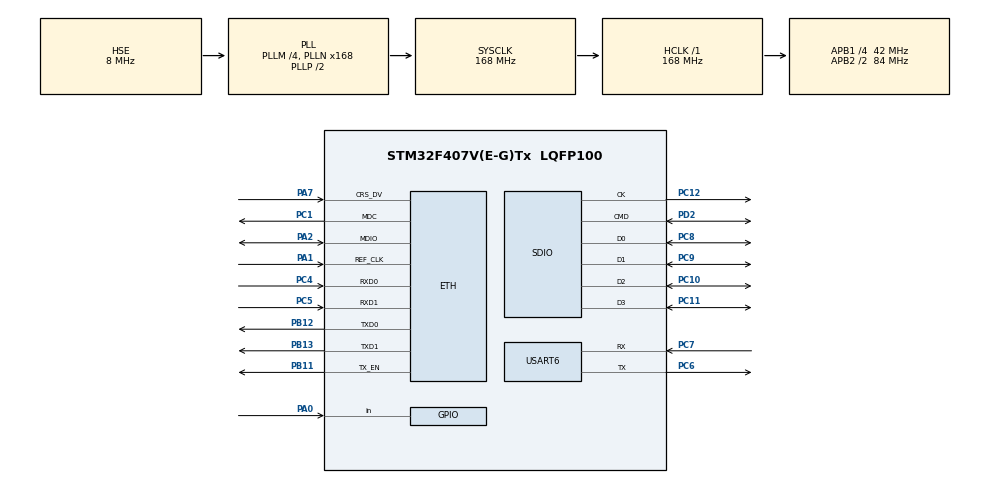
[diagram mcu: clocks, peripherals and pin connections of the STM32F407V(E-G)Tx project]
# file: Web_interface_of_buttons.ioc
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Dma.Request0=SDIO_RX
Dma.Request1=SDIO_TX
Dma.SDIO_RX.0.Direction=DMA_PERIPH_TO_MEMORY
Dma.SDIO_RX.0.FIFOMode=DMA_FIFOMODE_ENABLE
Dma.SDIO_RX.0.FIFOThreshold=DMA_FIFO_THRESHOLD_FULL
Dma.SDIO_RX.0.Instance=DMA2_Stream3
Dma.SDIO_RX.0.MemBurst=DMA_MBURST_INC4
Dma.SDIO_RX.0.MemDataAlignment=DMA_MDATAALIGN_WORD
Dma.SDIO_RX.0.MemInc=DMA_MINC_ENABLE
Dma.SDIO_RX.0.Mode=DMA_PFCTRL
Dma.SDIO_RX.0.PeriphBurst=DMA_PBURST_INC4
Dma.SDIO_RX.0.PeriphDataAlignment=DMA_PDATAALIGN_WORD
Dma.SDIO_RX.0.PeriphInc=DMA_PINC_DISABLE
Dma.SDIO_RX.0.Priority=DMA_PRIORITY_LOW
Dma.SDIO_TX.1.Direction=DMA_MEMORY_TO_PERIPH
Dma.SDIO_TX.1.FIFOMode=DMA_FIFOMODE_ENABLE
Dma.SDIO_TX.1.FIFOThreshold=DMA_FIFO_THRESHOLD_FULL
Dma.SDIO_TX.1.Instance=DMA2_Stream6
Dma.SDIO_TX.1.MemBurst=DMA_MBURST_INC4
Dma.SDIO_TX.1.MemDataAlignment=DMA_MDATAALIGN_WORD
Dma.SDIO_TX.1.MemInc=DMA_MINC_ENABLE
Dma.SDIO_TX.1.Mode=DMA_PFCTRL
Dma.SDIO_TX.1.PeriphBurst=DMA_PBURST_INC4
Dma.SDIO_TX.1.PeriphDataAlignment=DMA_PDATAALIGN_WORD
Dma.SDIO_TX.1.PeriphInc=DMA_PINC_DISABLE
Dma.SDIO_TX.1.Priority=DMA_PRIORITY_LOW
ETH.MediaInterface=ETH_MEDIA_INTERFACE_RMII
FATFS.USE_DMA_CODE_SD=1
FATFS._MAX_SS=4096
LWIP.GATEWAY_ADDRESS=192.168.018.001
LWIP.IP_ADDRESS=192.168.018.115
LWIP.LWIP_DHCP=0
LWIP.LWIP_HTTPD=1
LWIP.LWIP_HTTPD_CGI=1
LWIP.LWIP_HTTPD_DYNAMIC_HEADERS=1
LWIP.LWIP_HTTPD_MAX_TAG_INSERT_LEN=250
LWIP.LWIP_HTTPD_MAX_TAG_NAME_LEN=16
LWIP.LWIP_HTTPD_SSI=1
LWIP.LWIP_HTTPD_SSI_INCLUDE_TAG=0
LWIP.LWIP_HTTPD_SSI_MULTIPART=1
LWIP.LWIP_HTTPD_SUPPORT_POST=1
LWIP.MEM_SIZE=1600
LWIP.NETMASK_ADDRESS=255.255.255.000
LWIP.PBUF_POOL_BUFSIZE=592
LWIP.Version=v2.1.2_Cube
Mcu.Family=STM32F4
Mcu.Name=STM32F407V(E-G)Tx
Mcu.Package=LQFP100
NVIC.DMA2_Stream3_IRQn=true\:0\:0\:false\:false\:true\:false\:true
NVIC.DMA2_Stream6_IRQn=true\:0\:0\:false\:false\:true\:false\:true
NVIC.PriorityGroup=NVIC_PRIORITYGROUP_4
NVIC.SDIO_IRQn=true\:0\:0\:false\:false\:true\:true\:true
PA0-WKUP.GPIO_PuPd=GPIO_NOPULL
PA0-WKUP.Signal=GPIO_Input
PA1.Mode=RMII
PA1.Signal=ETH_REF_CLK
PA13.Mode=Serial_Wire
PA13.Signal=SYS_JTMS-SWDIO
PA14.Mode=Serial_Wire
PA14.Signal=SYS_JTCK-SWCLK
PA2.Mode=RMII
PA2.Signal=ETH_MDIO
PA7.Mode=RMII
PA7.Signal=ETH_CRS_DV
PB11.Mode=RMII
PB11.Signal=ETH_TX_EN
PB12.Mode=RMII
PB12.Signal=ETH_TXD0
PB13.Mode=RMII
PB13.Signal=ETH_TXD1
PC1.Mode=RMII
PC1.Signal=ETH_MDC
PC10.GPIO_PuPd=GPIO_PULLUP
PC10.Mode=SD_4_bits_Wide_bus
PC10.Signal=SDIO_D2
PC11.GPIO_PuPd=GPIO_PULLUP
PC11.Mode=SD_4_bits_Wide_bus
PC11.Signal=SDIO_D3
PC12.Mode=SD_4_bits_Wide_bus
PC12.Signal=SDIO_CK
PC4.Mode=RMII
PC4.Signal=ETH_RXD0
PC5.Mode=RMII
PC5.Signal=ETH_RXD1
PC6.Mode=Asynchronous
PC6.Signal=USART6_TX
PC7.Mode=Asynchronous
PC7.Signal=USART6_RX
PC8.GPIO_PuPd=GPIO_PULLUP
PC8.Mode=SD_4_bits_Wide_bus
PC8.Signal=SDIO_D0
PC9.GPIO_PuPd=GPIO_PULLUP
PC9.Mode=SD_4_bits_Wide_bus
PC9.Signal=SDIO_D1
PD2.GPIO_PuPd=GPIO_PULLUP
PD2.Mode=SD_4_bits_Wide_bus
PD2.Signal=SDIO_CMD
PH0-OSC_IN.Mode=HSE-External-Oscillator
PH0-OSC_IN.Signal=RCC_OSC_IN
PH1-OSC_OUT.Mode=HSE-External-Oscillator
PH1-OSC_OUT.Signal=RCC_OSC_OUT
ProjectManager.HeapSize=0x200
ProjectManager.StackSize=0x400
ProjectManager.TargetToolchain=STM32CubeIDE
RCC.48MHZClocksFreq_Value=48000000
RCC.AHBFreq_Value=168000000
RCC.APB1CLKDivider=RCC_HCLK_DIV4
RCC.APB1Freq_Value=42000000
RCC.APB1TimFreq_Value=84000000
RCC.APB2CLKDivider=RCC_HCLK_DIV2
RCC.APB2Freq_Value=84000000
RCC.APB2TimFreq_Value=168000000
RCC.CortexFreq_Value=168000000
RCC.HCLKFreq_Value=168000000
RCC.HSE_VALUE=8000000
RCC.HSI_VALUE=16000000
RCC.LSE_VALUE=32768
RCC.PLLM=4
RCC.PLLN=168
RCC.PLLQ=7
RCC.PLLSourceVirtual=RCC_PLLSOURCE_HSE
RCC.SYSCLKFreq_VALUE=168000000
RCC.SYSCLKSource=RCC_SYSCLKSOURCE_PLLCLK
RCC.VCOOutputFreq_Value=336000000
USART6.VirtualMode=VM_ASYNC
VP_FATFS_VS_SDIO.Mode=SDIO
VP_LWIP_VS_Enabled.Mode=Enabled
board=custom

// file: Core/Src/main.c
/* USER CODE BEGIN Header */
/**
  ******************************************************************************
  * @file           : main.c
  * @brief          : Main program body
  ******************************************************************************
  * @attention
  *
  * Copyright (c) 2022 STMicroelectronics.
  * All rights reserved.
  *
  * This software is licensed under terms that can be found in the LICENSE file
  * in the root directory of this software component.
  * If no LICENSE file comes with this software, it is provided AS-IS.
  *
  ******************************************************************************
  */
/* USER CODE END Header */
#include "main.h"
#include "fatfs.h"
#include "lwip.h"

/* USER CODE BEGIN Includes */
#include "http_ssi.h"
#include <stdio.h>/* для printf */
#include "lwip/apps/httpd.h" // including httpd.h [- HTTPd #1 -]
#include "zerg_sdio.h"

char path[20] = "0:";            // Путь к SD карте после форматирования
char *name_sd = "config.txt";    // Имя будущего файла
//char *folder_name = "FOLDER-15"; // Имя будущей папки

extern uint8_t rtext;
/* USER CODE END Includes */

SD_HandleTypeDef hsd;
DMA_HandleTypeDef hdma_sdio_rx;
DMA_HandleTypeDef hdma_sdio_tx;

UART_HandleTypeDef huart6;

void SystemClock_Config(void);
static void MX_GPIO_Init(void);
static void MX_DMA_Init(void);
static void MX_SDIO_SD_Init(void);
static void MX_USART6_UART_Init(void);
/* USER CODE BEGIN PFP */
int _write(int file, char *ptr, int len) {
	int i;
	HAL_UART_Transmit(&huart6, (uint8_t*) ptr, len, 50);
	for (i = 0; i < len; i++) {
		ITM_SendChar(*ptr++);
	}
	return len;
}
/* USER CODE END PFP */

/* USER CODE BEGIN 0 */
struct netif gnetif;
/* USER CODE END 0 */

int main(void)
{

  /* MCU Configuration--------------------------------------------------------*/

  /* Reset of all peripherals, Initializes the Flash interface and the Systick. */
  HAL_Init();

  /* Configure the system clock */
  SystemClock_Config();

  /* Initialize all configured peripherals */
  MX_GPIO_Init();
  MX_DMA_Init();
  MX_SDIO_SD_Init();
  MX_USART6_UART_Init();
  MX_LWIP_Init();
  MX_FATFS_Init();
  /* USER CODE BEGIN 2 */
  http_server_init();

//  zerg_mount();
//  zerg_format();
//  zerg_open();
//  zerg_write();
  zerg_get_data_from_sd();
//  zerg_get_free_space();    // Узнаем свободное место после удаления
//  zerg_get_file_info(name_sd);
  /* USER CODE END 2 */

  /* Infinite loop */
  while (1)
  {

    /* USER CODE BEGIN 3 */
      ethernetif_input(&gnetif);
      sys_check_timeouts();
  }
  /* USER CODE END 3 */
}

void SystemClock_Config(void)
{
  RCC_OscInitTypeDef RCC_OscInitStruct = {0};
  RCC_ClkInitTypeDef RCC_ClkInitStruct = {0};

  /** Configure the main internal regulator output voltage
  */
  __HAL_RCC_PWR_CLK_ENABLE();
  __HAL_PWR_VOLTAGESCALING_CONFIG(PWR_REGULATOR_VOLTAGE_SCALE1);
  /** Initializes the RCC Oscillators according to the specified parameters
  * in the RCC_OscInitTypeDef structure.
  */
  RCC_OscInitStruct.OscillatorType = RCC_OSCILLATORTYPE_HSE;
  RCC_OscInitStruct.HSEState = RCC_HSE_ON;
  RCC_OscInitStruct.PLL.PLLState = RCC_PLL_ON;
  RCC_OscInitStruct.PLL.PLLSource = RCC_PLLSOURCE_HSE;
  RCC_OscInitStruct.PLL.PLLM = 4;
  RCC_OscInitStruct.PLL.PLLN = 168;
  RCC_OscInitStruct.PLL.PLLP = RCC_PLLP_DIV2;
  RCC_OscInitStruct.PLL.PLLQ = 7;
  if (HAL_RCC_OscConfig(&RCC_OscInitStruct) != HAL_OK)
  {
    Error_Handler();
  }
  /** Initializes the CPU, AHB and APB buses clocks
  */
  RCC_ClkInitStruct.ClockType = RCC_CLOCKTYPE_HCLK|RCC_CLOCKTYPE_SYSCLK
                              |RCC_CLOCKTYPE_PCLK1|RCC_CLOCKTYPE_PCLK2;
  RCC_ClkInitStruct.SYSCLKSource = RCC_SYSCLKSOURCE_PLLCLK;
  RCC_ClkInitStruct.AHBCLKDivider = RCC_SYSCLK_DIV1;
  RCC_ClkInitStruct.APB1CLKDivider = RCC_HCLK_DIV4;
  RCC_ClkInitStruct.APB2CLKDivider = RCC_HCLK_DIV2;

  if (HAL_RCC_ClockConfig(&RCC_ClkInitStruct, FLASH_LATENCY_5) != HAL_OK)
  {
    Error_Handler();
  }
}

static void MX_SDIO_SD_Init(void)
{

  hsd.Instance = SDIO;
  hsd.Init.ClockEdge = SDIO_CLOCK_EDGE_RISING;
  hsd.Init.ClockBypass = SDIO_CLOCK_BYPASS_DISABLE;
  hsd.Init.ClockPowerSave = SDIO_CLOCK_POWER_SAVE_DISABLE;
  hsd.Init.BusWide = SDIO_BUS_WIDE_1B;
  hsd.Init.HardwareFlowControl = SDIO_HARDWARE_FLOW_CONTROL_DISABLE;
  hsd.Init.ClockDiv = 0;

}

static void MX_USART6_UART_Init(void)
{

  huart6.Instance = USART6;
  huart6.Init.BaudRate = 115200;
  huart6.Init.WordLength = UART_WORDLENGTH_8B;
  huart6.Init.StopBits = UART_STOPBITS_1;
  huart6.Init.Parity = UART_PARITY_NONE;
  huart6.Init.Mode = UART_MODE_TX_RX;
  huart6.Init.HwFlowCtl = UART_HWCONTROL_NONE;
  huart6.Init.OverSampling = UART_OVERSAMPLING_16;
  if (HAL_UART_Init(&huart6) != HAL_OK)
  {
    Error_Handler();
  }

}

static void MX_DMA_Init(void)
{

  /* DMA controller clock enable */
  __HAL_RCC_DMA2_CLK_ENABLE();

  /* DMA interrupt init */
  /* DMA2_Stream3_IRQn interrupt configuration */
  HAL_NVIC_SetPriority(DMA2_Stream3_IRQn, 0, 0);
  HAL_NVIC_EnableIRQ(DMA2_Stream3_IRQn);
  /* DMA2_Stream6_IRQn interrupt configuration */
  HAL_NVIC_SetPriority(DMA2_Stream6_IRQn, 0, 0);
  HAL_NVIC_EnableIRQ(DMA2_Stream6_IRQn);

}

static void MX_GPIO_Init(void)
{
  GPIO_InitTypeDef GPIO_InitStruct = {0};

  /* GPIO Ports Clock Enable */
  __HAL_RCC_GPIOH_CLK_ENABLE();
  __HAL_RCC_GPIOC_CLK_ENABLE();
  __HAL_RCC_GPIOA_CLK_ENABLE();
  __HAL_RCC_GPIOB_CLK_ENABLE();
  __HAL_RCC_GPIOD_CLK_ENABLE();

  /*Configure GPIO pin : PA0 */
  GPIO_InitStruct.Pin = GPIO_PIN_0;
  GPIO_InitStruct.Mode = GPIO_MODE_INPUT;
  GPIO_InitStruct.Pull = GPIO_NOPULL;
  HAL_GPIO_Init(GPIOA, &GPIO_InitStruct);

}

void Error_Handler(void)
{
  __disable_irq();
  while (1)
  {
  }
}
